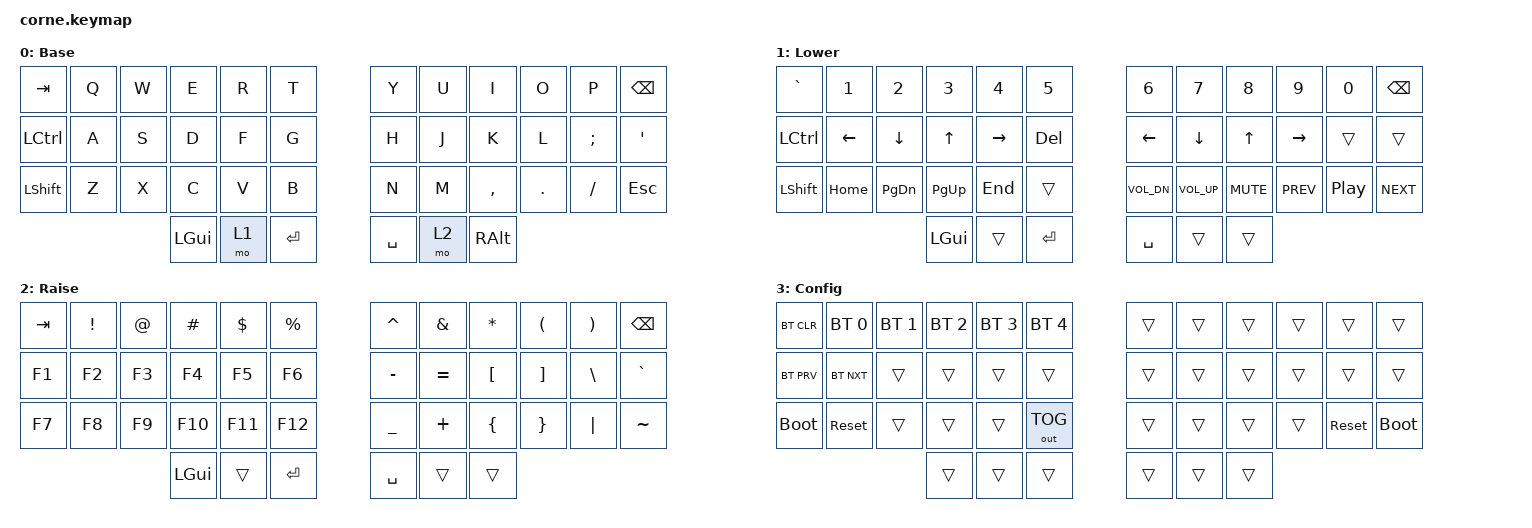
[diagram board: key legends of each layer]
/*
 * Copyright (c) 2020 The ZMK Contributors
 *
 * SPDX-License-Identifier: MIT
 */

#include <behaviors.dtsi>
#include <dt-bindings/zmk/keys.h>
#include <dt-bindings/zmk/bt.h>
#include <dt-bindings/zmk/outputs.h>

/ {
    conditional_layers {
        compatible = "zmk,conditional-layers";
        /* Tri-layer: Lower + Raise = Config */
        tri_layer {
            if-layers = <1 2>;
            then-layer = <3>;
        };
    };

    keymap {
        compatible = "zmk,keymap";

        /* LAYER 0: BASE
         * Same layout on macOS and Omarchy: both use GUI+C/V/X to copy,
         * paste and cut, so the left thumb GUI serves either system.
         */
        default_layer {
            display-name = "Base";
// -----------------------------------------------------------------------------------------
// | TAB  |  Q  |  W  |  E  |  R  |  T  |   |  Y  |  U  |  I  |  O  |  P  | BSPC |
// | CTRL |  A  |  S  |  D  |  F  |  G  |   |  H  |  J  |  K  |  L  |  ;  |  '   |
// | SHFT |  Z  |  X  |  C  |  V  |  B  |   |  N  |  M  |  ,  |  .  |  /  | ESC  |
//                    | GUI | LWR | RET |   | SPC | RSE | ALT |
            bindings = <
                &kp TAB    &kp Q  &kp W  &kp E  &kp R  &kp T     &kp Y  &kp U  &kp I      &kp O    &kp P     &kp BSPC
                &kp LCTRL  &kp A  &kp S  &kp D  &kp F  &kp G     &kp H  &kp J  &kp K      &kp L    &kp SEMI  &kp SQT
                &kp LSHFT  &kp Z  &kp X  &kp C  &kp V  &kp B     &kp N  &kp M  &kp COMMA  &kp DOT  &kp FSLH  &kp ESC
                                  &kp LGUI &mo 1 &kp RET         &kp SPACE &mo 2 &kp RALT
            >;
        };

        /* LAYER 1: LOWER (numbers, navigation & media)
         * Backtick sits on the TAB position: Lower + Tab types `
         * Arrows are mirrored on both halves so they stay reachable
         * while the right hand is on the mouse.
         */
        lower_layer {
            display-name = "Lower";
// -----------------------------------------------------------------------------------------
// |  `   |  1  |  2  |  3  |  4  |  5  |   |  6   |  7   |  8   |  9   |  0   | BSPC |
// | CTRL | LFT | DWN |  UP | RGT | DEL |   | LFT  | DWN  |  UP  | RGT  |      |      |
// | SHFT | HOME| PGDN| PGUP| END |     |   | VOL- | VOL+ | MUTE | PREV | PLAY | NEXT |
//                    | GUI |     | RET |   | SPC  |      |      |
            bindings = <
                &kp GRAVE  &kp N1    &kp N2     &kp N3     &kp N4     &kp N5    &kp N6        &kp N7        &kp N8     &kp N9     &kp N0   &kp BSPC
                &kp LCTRL  &kp LEFT  &kp DOWN   &kp UP     &kp RIGHT  &kp DEL   &kp LEFT      &kp DOWN      &kp UP     &kp RIGHT  &trans   &trans
                &kp LSHFT  &kp HOME  &kp PG_DN  &kp PG_UP  &kp END    &trans    &kp C_VOL_DN  &kp C_VOL_UP  &kp C_MUTE &kp C_PREV &kp C_PP &kp C_NEXT
                                     &kp LGUI   &trans     &kp RET              &kp SPACE     &trans        &trans
            >;
        };

        /* LAYER 2: RAISE (symbols & function keys)
         * F1-F12 fill the left block exactly. This drops the CTRL/SHFT
         * duplicates that stock keeps here; both still live on the base layer.
         */
        raise_layer {
            display-name = "Raise";
// -----------------------------------------------------------------------------------------
// | TAB |  !  |  @  |  #  |  $  |  %  |   |  ^  |  &  |  *  |  (  |  )  | BSPC |
// | F1  | F2  | F3  | F4  | F5  | F6  |   |  -  |  =  |  [  |  ]  |  \  |  `   |
// | F7  | F8  | F9  | F10 | F11 | F12 |   |  _  |  +  |  {  |  }  | "|" |  ~   |
//                   | GUI |     | RET |   | SPC |     | ALT |
            bindings = <
                &kp TAB  &kp EXCL &kp AT   &kp HASH &kp DLLR &kp PRCNT   &kp CARET &kp AMPS  &kp ASTRK &kp LPAR &kp RPAR &kp BSPC
                &kp F1   &kp F2   &kp F3   &kp F4   &kp F5   &kp F6      &kp MINUS &kp EQUAL &kp LBKT  &kp RBKT &kp BSLH &kp GRAVE
                &kp F7   &kp F8   &kp F9   &kp F10  &kp F11  &kp F12     &kp UNDER &kp PLUS  &kp LBRC  &kp RBRC &kp PIPE &kp TILDE
                                  &kp LGUI &trans   &kp RET              &kp SPACE &trans    &trans
            >;
        };

        /* LAYER 3: CONFIG (Lower + Raise held together)
         * Bluetooth on top, profile cycling and system on the rows below.
         * The right half is intentionally empty: media moved to Lower,
         * where it is reachable with a single thumb.
         */
        config_layer {
            display-name = "Config";
// -----------------------------------------------------------------------------------------
// | BTCLR | BT0  | BT1  | BT2  | BT3  | BT4  |   |  |  |  |  |      |      |
// | BTPRV | BTNXT|      |      |      |      |   |  |  |  |  |      |      |
// | BOOT  | RESET|      |      |      | OUT  |   |  |  |  |  |RESET | BOOT |
//                       |      |      |      |   |  |  |  |
            bindings = <
                &bt BT_CLR       &bt BT_SEL 0     &bt BT_SEL 1     &bt BT_SEL 2     &bt BT_SEL 3     &bt BT_SEL 4     &trans &trans &trans &trans &trans      &trans
                &bt BT_PRV       &bt BT_NXT       &trans           &trans           &trans           &trans           &trans &trans &trans &trans &trans      &trans
                &bootloader      &sys_reset       &trans           &trans           &trans           &out OUT_TOG     &trans &trans &trans &trans &sys_reset  &bootloader
                                                  &trans           &trans           &trans                            &trans &trans &trans
            >;
        };
    };
};
